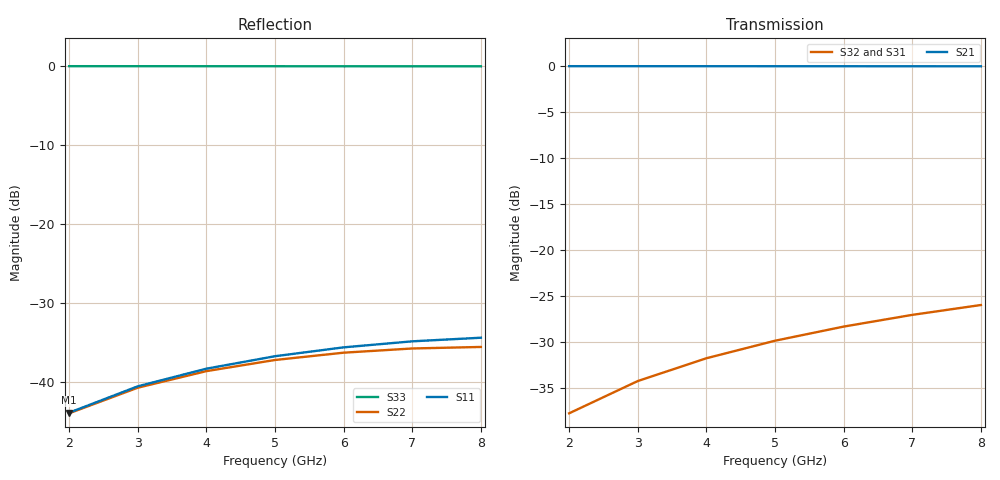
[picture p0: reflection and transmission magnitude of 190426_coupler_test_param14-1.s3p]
! Sonnet Data File
! From: emgraph Version : 16.56
! From Project: 190426_coupler_test
! Data is De-embedded
! Data File Written: 05/06/2019 15:59:44
!< HDATE 04/25/2019 10:48:44
!< MDATE 04/25/2019 10:59:35
!< PARAMS
!< tandelta = 0.0
!< t_aSi = 0.25
!< W = 10.0
!< Lcoupler = 1300.0
!< END PARAMS
# GHZ S MA R 50.0 !  non standard terminations in data
! TERM 50.00000 0.000000 50.00000 0.000000 63.84000 0.000000
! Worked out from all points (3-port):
!   7 points, 2 GHz to 8 GHz, reference 50 ohm
!   strongest paths, dB at 2 GHz, 3 GHz, 5 GHz, 7 GHz, 8 GHz:
!     S21: 0.0, 0.0, 0.0, 0.0, 0.0
!     S32: -37.8, -34.3, -29.9, -27.1, -26.0
!     S31: -37.8, -34.3, -30.0, -27.2, -26.2
!   lowest |S11| = -43.9 dB at 2 GHz (marker M1), VSWR 1.01, Z = 50.3 + j0.59 ohm
!   |S11| at or under -10 dB: start of sweep to end of sweep
2  0.00641 66.4  0.9999 -21.7  0.01286 58.0
   0.9999 -21.7  0.006351 71.6  0.01289 81.2
   0.01286 58.0  0.01289 81.2  0.9998 -19.5
3  0.009413 54.4  0.9998 -32.5  0.01922 42.0
   0.9998 -32.5  0.009223 62.5  0.01931 76.7
   0.01922 42.0  0.01931 76.7  0.9996 -29.2
4  0.01217 42.2  0.9996 -43.4  0.0255 25.9
   0.9996 -43.4  0.01174 53.5  0.0257 72.2
   0.0255 25.9  0.0257 72.2  0.9993 -39.0
5  0.0146 29.6  0.9994 -54.2  0.03167 9.9
   0.9994 -54.2  0.01381 44.6  0.03202 67.6
   0.03167 9.9  0.03202 67.6  0.999 -48.8
6  0.01661 16.7  0.9992 -65.0  0.0377 -6.1
   0.9992 -65.0  0.01537 35.9  0.03822 63.0
   0.0377 -6.1  0.03822 63.0  0.9986 -58.6
7  0.01813 3.2  0.9989 -75.9  0.04356 -22.2
   0.9989 -75.9  0.01634 27.4  0.04427 58.3
   0.04356 -22.2  0.04427 58.3  0.9981 -68.4
8  0.01911 -10.9  0.9986 -86.7  0.04923 -38.2
   0.9986 -86.7  0.01671 19.3  0.0501 53.5
   0.04923 -38.2  0.0501 53.5  0.9975 -78.2
